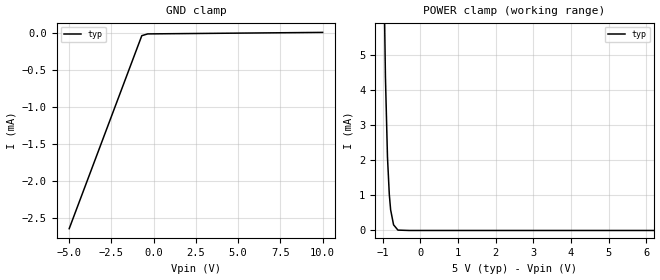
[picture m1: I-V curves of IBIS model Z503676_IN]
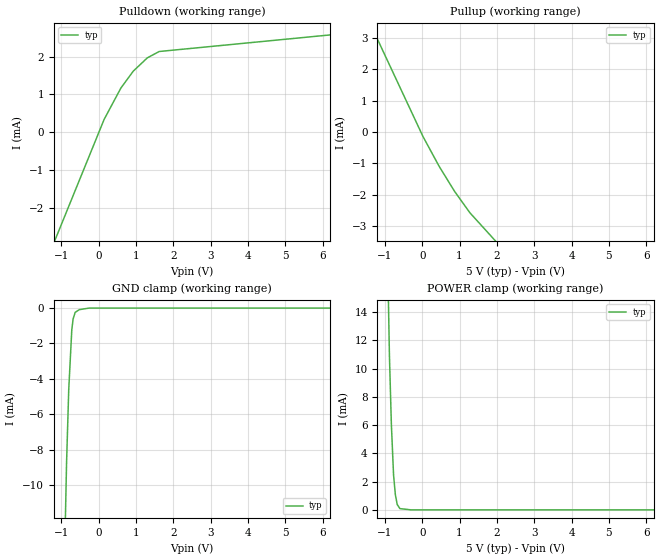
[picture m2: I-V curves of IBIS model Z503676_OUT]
| YOU ARE ONLY AUTHORIZED TO USE THIS SOFTWARE
| ACCORDING TO LICENSOR'S LICENSE RESTRICTIONS.
[IBIS Ver] 3.1
[File Name] mc14560bcl.ibs
[File Rev] 2.0
[Source] Measured and created by ICX Technology
[Date] Friday 7/14/00 9:07:57 AM
[Copyright]
| (C) COPYRIGHT 1993-2000
| MENTOR GRAPHICS CORPORATION
| ICX STANDARD LIBRARY, ICX PROJECT MODELING,
| ICX CUSTOM MODELING, ICX VENDOR MODEL
| ALL RIGHTS RESERVED.
| THE FOLLOWING ARE TRADEMARKS OR SERVICE MARKS OF
| MENTOR GRAPHICS CORPORATION:ICX (R), ICX STANDARD
| LIBRARY(R), ICX PROJECT MODELING(R), ICX CUSTOM
| MODELING(R), qualityIBIS(TM), MODELVIEWER(TM),
| AND MODELEDITOR(TM)
| ALL COPIES OF SOFTWARE, INCLUDING BUT NOT LIMITED TO
| ANY MODIFICATIONS, ENHANCEMENTS OR DERIVATIVE WORKS,
| MUST CONTAIN ALL MENTOR GRAPHICS CORPORATION'S
| NOTICES AND LEGENDS, INCLUDING THOSE EMBEDDED IN
| SOFTWARE AND THOSE AFFIXED TO SOFTWARE MEDIUM
| AND CONTAINER, AS RECEIVED FROM MENTOR GRAPHICS
| CORPORATION.
|  ZAP Model Builder 2.7
[Component] MC14560BCL
[Manufacturer] OnSemiconductor
[Package]
| variable   typ   min   max
R_pkg  .212ohms NA NA
L_pkg  4.758nH NA NA
C_pkg  1.944pF NA NA
[Pin] signal_name  model_name  R_pin  L_pin C_pin
1 A2 Z503676_IN .224 7.258n 2.683p
2 B2 Z503676_IN .216 5.258n 2.19p
3 A3 Z503676_IN .208 3.758n 1.697p
4 B3 Z503676_IN .2 2.758n 1.204p
5 A4 Z503676_IN .2 2.758n 1.204p
6 B4 Z503676_IN .208 3.758n 1.697p
7 CIN Z503676_IN .216 5.258n 2.19p
8 VSS POWER .224 7.258n 2.683p
9 COUT Z503676_OUT .224 7.258n 2.683p
10 S4 Z503676_OUT .216 5.258n 2.19p
11 S3 Z503676_OUT .208 3.758n 1.697p
12 S2 Z503676_OUT .2 2.758n 1.204p
13 S1 Z503676_OUT .2 2.758n 1.204p
14 B1 Z503676_IN .208 3.758n 1.697p
15 A1 Z503676_IN .216 5.258n 2.19p
16 VDD POWER .224 7.258n 2.683p
| Models and submodels in the file (2): Z503676_IN (Input), Z503676_OUT (Output)
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| (C) COPYRIGHT 1993-2000
| MENTOR GRAPHICS CORPORATION
| ICX STANDARD LIBRARY, ICX PROJECT MODELING,
| ICX CUSTOM MODELING, ICX VENDOR MODEL
| ALL RIGHTS RESERVED.
| THE FOLLOWING ARE TRADEMARKS OR SERVICE MARKS OF
| MENTOR GRAPHICS CORPORATION:ICX (R), ICX STANDARD
| LIBRARY(R), ICX PROJECT MODELING(R), ICX CUSTOM
| MODELING(R), qualityIBIS(TM), MODELVIEWER(TM),
| AND MODELEDITOR(TM)
| ALL COPIES OF SOFTWARE, INCLUDING BUT NOT LIMITED TO
| ANY MODIFICATIONS, ENHANCEMENTS OR DERIVATIVE WORKS,
| MUST CONTAIN ALL MENTOR GRAPHICS CORPORATION'S
| NOTICES AND LEGENDS, INCLUDING THOSE EMBEDDED IN
| SOFTWARE AND THOSE AFFIXED TO SOFTWARE MEDIUM
| AND CONTAINER, AS RECEIVED FROM MENTOR GRAPHICS
| CORPORATION.
| Model Application Version 1.89 2/18/99.
[Model] Z503676_IN
Model_type Input
Vinl = 1.500V
Vinh = 3.500V
C_comp 4.000pF NA NA
| variable typ   min   max
[Voltage Range] 5.000V NA NA
[GND Clamp Reference] 0.000V NA NA
[POWER Clamp Reference] 5.000V NA NA
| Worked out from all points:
|   POWER clamp passes 1 mA (typ) near -0.82 V on its own axis
[GND Clamp]
-5V       -2.641mA   NA         NA
-703.2mV  -35.57uA   NA         NA
-351.6mV  -11.57uA   NA         NA
10V       8.775uA    NA         NA
[POWER Clamp]
-5V       437.5mA    NA         NA
-1.016V   11.17mA    NA         NA
-923mV    4.379mA    NA         NA
-869mV    2.099mA    NA         NA
-820mV    1.023mA    NA         NA
-785mV    588.4uA    NA         NA
-707mV    161.3uA    NA         NA
-591mV    10.64uA    NA         NA
-295.5mV  0A         NA         NA
10V       0A         NA         NA
| (C) COPYRIGHT 1993-2000
| MENTOR GRAPHICS CORPORATION
| ICX STANDARD LIBRARY, ICX PROJECT MODELING,
| ICX CUSTOM MODELING, ICX VENDOR MODEL
| ALL RIGHTS RESERVED.
| THE FOLLOWING ARE TRADEMARKS OR SERVICE MARKS OF
| MENTOR GRAPHICS CORPORATION:ICX (R), ICX STANDARD
| LIBRARY(R), ICX PROJECT MODELING(R), ICX CUSTOM
| MODELING(R), qualityIBIS(TM), MODELVIEWER(TM),
| AND MODELEDITOR(TM)
| ALL COPIES OF SOFTWARE, INCLUDING BUT NOT LIMITED TO
| ANY MODIFICATIONS, ENHANCEMENTS OR DERIVATIVE WORKS,
| MUST CONTAIN ALL MENTOR GRAPHICS CORPORATION'S
| NOTICES AND LEGENDS, INCLUDING THOSE EMBEDDED IN
| SOFTWARE AND THOSE AFFIXED TO SOFTWARE MEDIUM
| AND CONTAINER, AS RECEIVED FROM MENTOR GRAPHICS
| CORPORATION.
| Model Application Version 1.89 2/18/99.
[Model] Z503676_OUT
Model_type Output
Vref=0.000V
Rref=500.0Mohms
Cref=50.00pF
Vmeas=2.500V
C_comp 8.000pF NA NA
| variable typ   min   max
[Voltage Range] 5.000V NA NA
[POWER Clamp Reference] 5.000V NA NA
[Pullup Reference] 5.000V NA NA
[Pulldown Reference] 0.000V NA NA
[GND Clamp Reference] 0.000V NA NA
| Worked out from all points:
|   slope of the pulldown table from 0 to 0.75 V, typ, clamps not added: 537 ohm
|   slope of the pullup table from 0 to 0.75 V, typ, clamps not added: 475 ohm
|   GND clamp passes 1 mA (typ) near -0.71 V on its own axis
|   POWER clamp passes 1 mA (typ) near -0.71 V on its own axis
[GND Clamp]
-5V       -430.2mA   NA         NA
-859.3mV  -8.77mA    NA         NA
-800.7mV  -4.609mA   NA         NA
-718.6mV  -1.226mA   NA         NA
-683.5mV  -615.3uA   NA         NA
-628.2mV  -242.7uA   NA         NA
-517.5mV  -89.75uA   NA         NA
-258.7mV  0A         NA         NA
10V       0A         NA         NA
[Pulldown]
-5V       -12.17mA   NA         NA
147.3mV   336.6uA    NA         NA
596mV     1.167mA    NA         NA
927.7mV   1.614mA    NA         NA
1.304V    1.966mA    NA         NA
1.622V    2.134mA    NA         NA
10V       2.938mA    NA         NA
[Pullup]
-5V       12.66mA    NA         NA
24mV      -149.2uA   NA         NA
454mV     -1.094mA   NA         NA
864mV     -1.888mA   NA         NA
1.275V    -2.574mA   NA         NA
10V       -14.04mA   NA         NA
[POWER Clamp]
-5V       604.1mA    NA         NA
-878mV    10.99mA    NA         NA
-826mV    6.085mA    NA         NA
-767mV    2.471mA    NA         NA
-719mV    1.078mA    NA         NA
-669mV    378.1uA    NA         NA
-596mV    86.2uA     NA         NA
-298mV    0A         NA         NA
10V       0A         NA         NA
[Ramp]
| variable typ min max
dV/dt_r 2.537/11.17n NA NA
dV/dt_f 2.537/13.25n NA NA
R_load = 2.500kOhms
